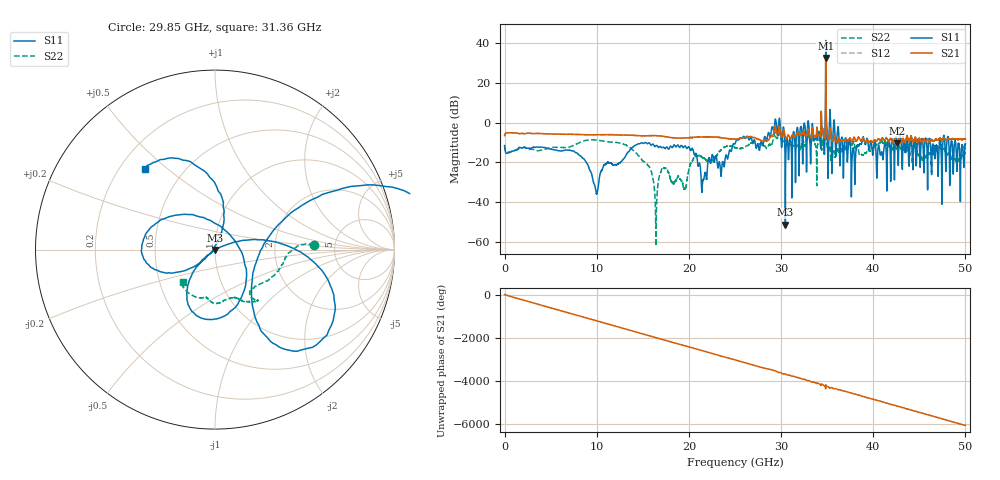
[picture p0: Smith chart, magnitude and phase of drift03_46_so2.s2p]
!Created with skrf (http://scikit-rf.org).
# Hz S RI R 50.0
!freq ReS11 ImS11 ReS21 ImS21 ReS12 ImS12 ReS22 ImS22
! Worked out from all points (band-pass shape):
!   10001 points, 300 kHz to 50 GHz, reference 50 ohm
!   highest |S21| = 32.64 dB at 34.85 GHz (marker M1); lowest = -10.4 dB at 42.56 GHz (marker M2)
!   |S21| within 3 dB of the highest: 34.84406 GHz to 34.8458 GHz (1.739 MHz wide, 0.00499 % of centre)
!   lowest |S11| = -51.4 dB at 30.47 GHz (marker M3), VSWR 1.01, Z = 50.2 - j0.217 ohm
!   |S11| at or under -10 dB: start of sweep to 15.23 GHz; 15.31 GHz to 25.05 GHz (9.738 GHz wide, 48.3 % of centre); 40.22 GHz to 41.62 GHz (1.395 GHz wide, 3.41 % of centre) (the widest 3 of 53)
!   |S22| runs from -62.2 to 23.7 dB; largest |S21 - S12| = 6.2
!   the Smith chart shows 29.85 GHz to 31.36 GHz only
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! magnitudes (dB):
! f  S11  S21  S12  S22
! 300 kHz  -11.5  -6.5  -6.5  -11.4
! 8.335 GHz  -17.1  -6.0  -6.0  -9.6
! 9.955 GHz  -35.6  -6.1  -6.1  -8.7
! 11.01 GHz  -20.8  -6.0  -6.0  -9.5
! 13.96 GHz  -12.1  -6.3  -6.3  -13.8
! 16.36 GHz  -11.9  -6.5  -6.5  -42.3
! 16.67 GHz  -12.4  -6.5  -6.5  -29.9
! 17.33 GHz  -12.7  -6.9  -6.9  -23.0
! 19.55 GHz  -11.7  -7.7  -7.7  -33.1
! 20.22 GHz  -13.9  -7.5  -7.5  -20.3
! 21.55 GHz  -28.7  -7.2  -7.2  -17.7
! 25 GHz  -10.6  -8.3  -8.2  -12.5
! 29.6 GHz  -5.5  -5.7  -5.9  -7.8
! 30.47 GHz  -51.4  -7.2  -7.2  -9.0
! 33.34 GHz  -3.8  -6.8  -6.7  -9.3
! 34.85 GHz  41.4  32.6  32.4  23.7
! 35.63 GHz  -6.5  -9.2  -9.1  -16.2
! 37.83 GHz  -12.7  -8.3  -8.3  -9.8
! 38.81 GHz  -9.0  -8.2  -8.2  -16.1
! 41.67 GHz  -9.4  -9.4  -9.3  -11.3
! 42.56 GHz  -8.5  -10.4  -10.4  -13.2
! 50 GHz  -10.7  -8.2  -8.3  -15.5
